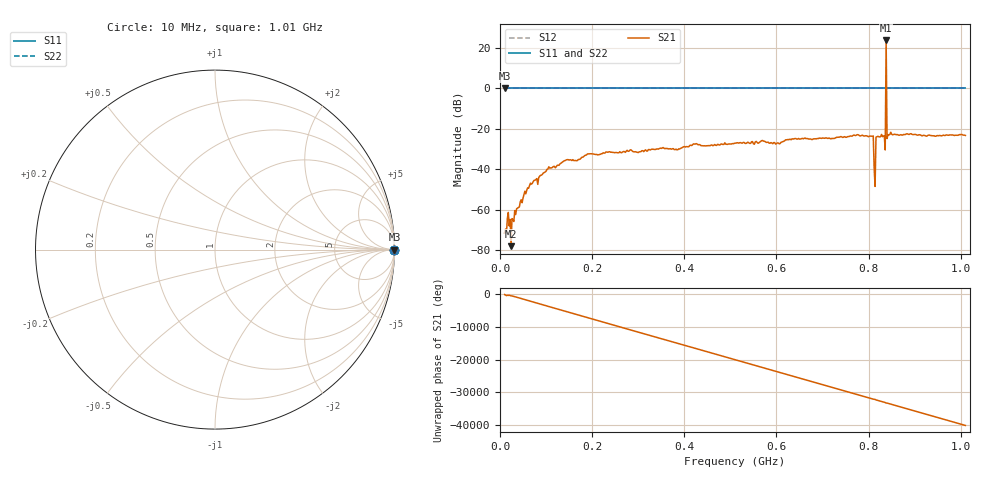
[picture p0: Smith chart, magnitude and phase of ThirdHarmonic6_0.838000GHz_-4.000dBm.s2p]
! 8/16/2025 3:46:58 AM
! C:\ANRITSUVNA\TEMP\TEMP.S2P
! CHANNEL.1
! TR.MEASUREMENT
! RAW.DATA
! RF.CORRECTION.OFF
! AVERAGING.OFF
! IF.BANDWIDTH: 5KHZ
! SWEEPTYPE:  FREQ.SWEEP(Linear)
! Reference Plane Port Info
! PORT:  PORT1  PORT2
! DISTANCE:  0  m  0  m
! TIME:  0  s  0  s
! PHASE.OFFSET:  0  deg.  0  deg.
! LOSS:  0  dB  0  dB
! REF.LOSS:  0  dB  0  dB
! REF.FREQ:  0  Hz  0  Hz
! Power Info
! POWER:  -20  dBm  -20  dBm
! EFF.POWER:  -20  dBm  -20  dBm
! SOURCE.ATTEN:  0  dB  0  dB
! TEST.ATTEN:  0  dB  0  dB
# GHZ S RI R 50.0
! FREQ.GHZ  S11RE  S11IM  S21RE  S21IM  S12RE  S12IM  S22RE  S22IM
!; PortSelection: Port_12
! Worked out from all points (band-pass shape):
!   501 points, 10 MHz to 1.01 GHz, reference 50 ohm
!   highest |S21| = 23.52 dB at 838 MHz (marker M1); lowest = -78.0 dB at 24 MHz (marker M2)
!   |S21| within 3 dB of the highest: 837.8889 MHz to 838.1239 MHz (235 kHz wide, 0.028 % of centre)
!   lowest |S11| = 0.0 dB at 10 MHz (marker M3)
!   |S11| at or under -10 dB: nowhere
!   |S22| runs from 0.0 to 0.0 dB; largest |S21 - S12| = 16
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0.01  1 0  9.82e-05 -0.000249  1 0  1 0
0.018  1 0  0.000769 0.00038  1 0  1 0
0.024  1 0  -9.63e-05 -8.17e-05  1 0  1 0
0.028  1 0  -0.000477 0.000313  1 0  1 0
0.036  1 0  -0.00091 -0.00053  1 0  1 0
0.07  1 0  -0.00128 -0.00426  1 0  1 0
0.106  1 0  -0.00817 -0.00804  1 0  1 0
0.178  1 0  -0.0192 -0.00486  1 0  1 0
0.194  1 0  0.00039 -0.0239  1 0  1 0
0.344  1 0  0.0308 -0.00591  1 0  1 0
0.51  1 0  -0.0418 0.0134  1 0  1 0
0.678  1 0  -0.0208 -0.0499  1 0  1 0
0.806  1 0  -0.0435 0.0487  1 0  1 0
0.81  1 0  0.0584 -0.0312  1 0  1 0
0.816  1 0  -0.00381 0.0618  1 0  1 0
0.82  1 0  0.0231 -0.0605  1 0  1 0
0.832  1 0  -0.0644 0.00924  1 0  1 0
0.834  1 0  -0.00134 0.0672  1 0  1 0
0.838  1 0  -13.39 -6.738  1 0  1 0
0.842  1 0  -0.0435 0.0565  1 0  1 0
0.844  1 0  0.0478 0.0508  1 0  1 0
1.01  1 0  -0.0635 -0.0243  1 0  1 0
